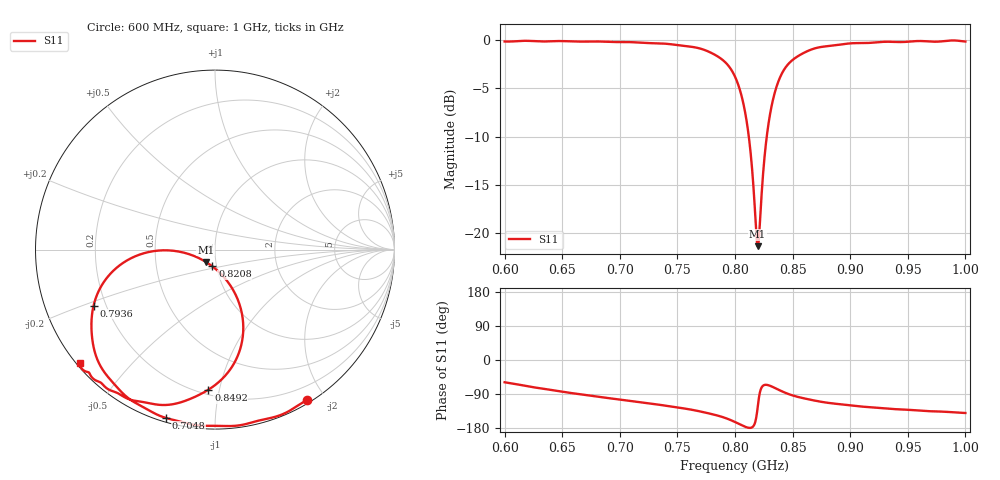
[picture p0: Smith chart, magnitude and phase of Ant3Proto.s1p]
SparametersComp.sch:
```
<QucsStudio Schematic 4.3.1>
<Properties>
View=-30,-10,1436,611,0.987324,45,0
Grid=10,10,1
DataSet=*.dat
DataDisplay=
OpenDisplay=1
showFrame=0
FrameText0=Title
FrameText1=Drawn By:
FrameText2=Date:
FrameText3=Revision:
</Properties>
<Symbol>
</Symbol>
<Components>
GND * 1 300 210 0 0 0 0
SPfile X1 1 300 160 -26 -59 0 0 "C:/Users/A/Aalborg Universitet/EIT4 - 410 - AAUSAT PROJECT - General/EIT5/Projekt/optimizing_pi/optimizing_pi/Test_of_pi_match_calc/Ant3Proto.s1p" 1 "1" 0 "polar" 0 "linear" 0 "short" 0 "none" 0 "block" 0 "SOT23" 0
Pac P1 1 40 200 18 -26 0 0 "1" 1 "50 Ω" 1 "0 dBm" 0 "1 GHz" 0 "26.85" 0 "SUBCLICK" 0
GND * 1 40 230 0 0 0 0
.SP SP1 1 80 290 0 65 0 0 "log" 1 "600MHz" 1 "1GHz" 1 "1001" 1 "no" 0 "1" 0 "2" 0 "none" 0
GND * 1 220 240 0 0 0 0
C C1 1 220 210 17 -26 0 1 "5 pF" 1 "0" 0 "" 0 "neutral" 0 "SMD0603" 0
L L1 1 170 160 -26 10 0 0 "3.3 nH" 1 "0" 0 "" 0 "SELF-WE-PD3S" 0
GND * 1 110 220 0 0 0 0
C C2 1 110 190 17 -26 0 1 "20 pF" 1 "0" 0 "" 0 "neutral" 0 "SMD0603" 0
</Components>
<Wires>
300 190 300 210 "" 0 0 0 ""
30 220 40 220 "" 0 0 0 ""
40 220 40 230 "" 0 0 0 ""
220 160 270 160 "" 0 0 0 ""
220 160 220 180 "" 0 0 0 ""
200 160 220 160 "" 0 0 0 ""
40 160 40 170 "" 0 0 0 ""
40 160 110 160 "" 0 0 0 ""
110 160 140 160 "" 0 0 0 ""
</Wires>
<Diagrams>
<Rect 600 250 360 220 31 #c0c0c0 1 00 1 6e+08 5e+07 1e+09 1 -22.5811 10 2.00921 1 0 0 0 315 0 225 "frequency" "" "">
	<Legend 10 -100 0>
	<"dB(S[1,1])" "" #0000ff 0 3 0 0 0 0 "">
	<"dB(S[2,1])" "" #ff0000 0 3 0 0 0 0 "">
	<"dB(S[2,2])" "" #ff00ff 0 3 0 1 0 0 "">
	<"wphase(S[2,1])" "" #000000 0 3 0 0 1 0 "">
</Rect>
<Smith 600 550 220 220 31 #c0c0c0 1 00 1 0 1 1 1 0 4 1 1 0 4 1 315 0 225 "" "" "">
	<Legend 10 -100 0>
	<"S[1,1]" "" #0000ff 0 3 0 0 0 0 "">
</Smith>
</Diagrams>
<Paintings>
</Paintings>
```
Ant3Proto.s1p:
! TOUCHSTONE file generated by CST MICROWAVE STUDIO
! Date and time: Wed Nov 23 10:12:08 2022
! Project name: Ant3Proto.cst
! Parameters = {AntCapLenAddition=9; CapShortLen=1; ShortToGND=0.3; waterdim=0.1}
! Header version: 2018
! Port assignment regex: !\s*Touchstone port\s*([0-9]+)\s*=\s*(CST MWS port|CST DS port)\s*([0-9]+|Zmin|Zmax)\s*\(\"(.*)\"\)(\s*mode\s*([0-9]+))?.*
! Touchstone port assignment:
! Touchstone port 1 = CST MWS port 1 ("")
# MHz S RI R 50
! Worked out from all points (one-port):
!   1001 points, 600 MHz to 1 GHz, reference 50 ohm
!   lowest |S11| = -21.4 dB at 819.6 MHz (marker M1), VSWR 1.19, Z = 44.7 - j6.16 ohm
!   |S11| at or under -10 dB: 812 MHz to 827.6 MHz (15.59 MHz wide, 1.9 % of centre)
!   S11 on the Smith chart (normalised r, x): 600 MHz: 0.04, -1.78; 704.8 MHz: 0.02, -0.75; 793.6 MHz: 0.15, -0.21; 820.8 MHz: 0.95, -0.18; 849.2 MHz: 0.23, -0.93; 1 GHz: 0.01, -0.37
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600  0.5106 -0.8402
648.4  0.1231 -0.9807
704.8  -0.2739 -0.9379
733.6  -0.4491 -0.8508
767.2  -0.6347 -0.6547
793.6  -0.6764 -0.3118
809.2  -0.4084 -0.0239
819.6  -0.0513 -0.0683
820.8  -0.0146 -0.0935
831.2  0.1567 -0.4084
849.2  -0.0371 -0.7808
866.8  -0.2419 -0.8626
908.8  -0.5199 -0.8126
1000  -0.7507 -0.6341
